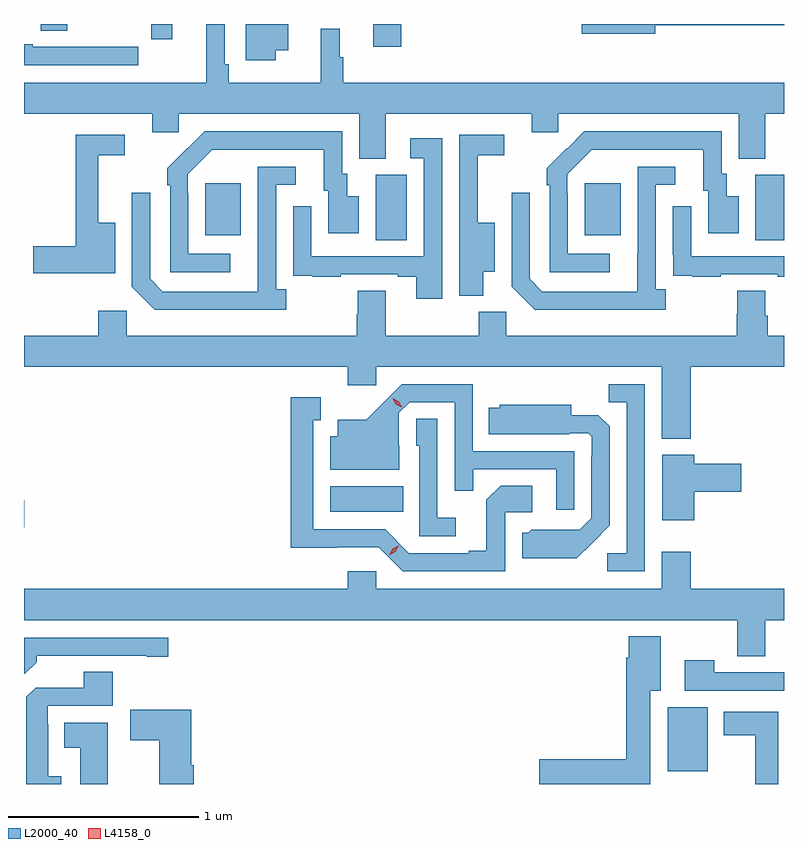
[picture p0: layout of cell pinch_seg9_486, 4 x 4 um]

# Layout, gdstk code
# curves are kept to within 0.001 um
import gdstk
lib = gdstk.Library(unit=1e-6, precision=1e-09)
def R(c, l, rs):  # rectangles x0, y0, x1, y1
    for r in rs: c.add(gdstk.rectangle(r[:2], r[2:], *l))
def P(c, l, *ps):  # polygons
    for p in ps: c.add(gdstk.Polygon(p, *l))
L2000_40 = (2000, 40)
L4158_0 = (4158, 0)

pinch_seg9_486 = lib.new_cell('pinch_seg9_486')
R(pinch_seg9_486, L2000_40, [(283.67,1199.621,283.882,1199.956), (280.283,1200.904,280.285,1201.046), (281.894,1200.986,282.278,1201.12), (282.134,1202.416,282.298,1202.76), (284.132,1202.416,284.283,1202.76), (281.237,1202.441,281.425,1202.716), (283.235,1202.441,283.423,1202.716), (282.122,1203.432,282.269,1203.553), (280.954,1203.474,281.063,1203.553), (280.371,1203.517,280.51,1203.553)])
P(pinch_seg9_486, L2000_40, [(282.187,1203.08),(282.956,1203.08),(282.956,1202.982),(283.095,1202.982),(283.095,1203.08),(284.045,1203.08),(284.045,1202.845),(284.185,1202.845),(284.185,1203.08),(284.283,1203.08),(284.283,1203.244),(281.963,1203.244),(281.963,1203.378),(281.944,1203.378),(281.944,1203.529),(281.845,1203.529),(281.845,1203.244),(281.36,1203.244),(281.36,1203.34),(281.34,1203.34),(281.34,1203.553),(281.243,1203.553),(281.243,1203.244),(280.283,1203.244),(280.283,1203.08),(280.958,1203.08),(280.958,1202.982),(281.097,1202.982),(281.097,1203.08),(282.047,1203.08),(282.047,1202.845),(282.187,1202.845)],
  [(281.608,1203.416),(281.674,1203.416),(281.674,1203.553),(281.45,1203.553),(281.45,1203.363),(281.608,1203.363)],
  [(283.606,1203.546),(284.283,1203.546),(284.283,1203.553),(283.218,1203.553),(283.218,1203.503),(283.606,1203.503)],
  [(280.885,1203.432),(280.772,1203.432),(280.772,1203.433),(280.606,1203.433),(280.606,1203.432),(280.33,1203.432),(280.33,1203.447),(280.283,1203.447),(280.283,1203.336),(280.885,1203.336)],
  [(283.366,1202.343),(283.146,1202.343),(283.146,1202.663),(283.143,1202.663),(283.143,1202.763),(283.272,1202.892),(283.859,1202.892),(283.859,1202.676),(283.883,1202.676),(283.883,1202.451),(284.044,1202.451),(284.044,1202.647),(283.981,1202.647),(283.981,1202.766),(283.956,1202.766),(283.956,1202.988),(283.232,1202.988),(283.035,1202.793),(283.035,1202.705),(283.05,1202.705),(283.05,1202.247),(283.366,1202.247)],
  [(281.368,1202.343),(281.148,1202.343),(281.148,1202.663),(281.145,1202.663),(281.145,1202.763),(281.274,1202.892),(281.861,1202.892),(281.861,1202.676),(281.885,1202.676),(281.885,1202.451),(282.046,1202.451),(282.046,1202.647),(281.983,1202.647),(281.983,1202.766),(281.958,1202.766),(281.958,1202.988),(281.234,1202.988),(281.037,1202.793),(281.037,1202.705),(281.052,1202.705),(281.052,1202.247),(281.368,1202.247)],
  [(280.762,1202.506),(280.673,1202.506),(280.673,1202.862),(280.813,1202.862),(280.813,1202.97),(280.555,1202.97),(280.555,1202.384),(280.332,1202.384),(280.332,1202.242),(280.762,1202.242)],
  [(282.7,1202.249),(282.76,1202.249),(282.76,1202.506),(282.671,1202.506),(282.671,1202.862),(282.811,1202.862),(282.811,1202.97),(282.573,1202.97),(282.573,1202.123),(282.7,1202.123)],
  [(282.483,1202.953),(282.315,1202.953),(282.315,1202.847),(282.387,1202.847),(282.387,1202.331),(281.796,1202.331),(281.796,1202.593),(281.7,1202.593),(281.7,1202.338),(281.701,1202.338),(281.701,1202.229),(281.803,1202.229),(281.803,1202.223),(281.951,1202.223),(281.951,1202.235),(282.251,1202.235),(282.251,1202.223),(282.347,1202.223),(282.347,1202.106),(282.483,1202.106)],
  [(281.662,1202.158),(281.61,1202.158),(281.61,1202.706),(281.713,1202.706),(281.713,1202.802),(281.514,1202.802),(281.513,1202.145),(281.013,1202.145),(280.947,1202.211),(280.947,1202.665),(280.851,1202.665),(280.851,1202.169),(280.972,1202.048),(281.662,1202.048)],
  [(283.66,1202.158),(283.608,1202.158),(283.608,1202.706),(283.711,1202.706),(283.711,1202.802),(283.512,1202.802),(283.511,1202.145),(283.011,1202.145),(282.945,1202.211),(282.945,1202.665),(282.849,1202.665),(282.849,1202.169),(282.97,1202.048),(283.66,1202.048)],
  [(283.949,1202.235),(284.249,1202.235),(284.249,1202.223),(284.283,1202.223),(284.283,1202.331),(283.794,1202.331),(283.794,1202.593),(283.698,1202.593),(283.698,1202.338),(283.699,1202.338),(283.699,1202.229),(283.801,1202.229),(283.801,1202.223),(283.949,1202.223)],
  [(283.793,1201.748),(284.283,1201.748),(284.283,1201.912),(284.198,1201.912),(284.198,1202.018),(284.185,1202.018),(284.185,1202.15),(284.038,1202.15),(284.038,1202.025),(284.033,1202.025),(284.033,1201.912),(282.822,1201.912),(282.822,1202.038),(282.676,1202.038),(282.676,1201.912),(282.187,1201.912),(282.187,1202.15),(282.04,1202.15),(282.04,1202.025),(282.035,1202.025),(282.035,1201.912),(280.824,1201.912),(280.824,1202.044),(280.673,1202.044),(280.673,1201.912),(280.283,1201.912),(280.283,1201.748),(281.987,1201.748),(281.987,1201.653),(282.138,1201.653),(282.138,1201.748),(283.64,1201.748),(283.64,1201.37),(283.793,1201.37)],
  [(283.551,1201.656),(283.36,1201.656),(283.36,1201.561),(283.455,1201.561),(283.455,1200.768),(283.353,1200.768),(283.353,1200.672),(283.551,1200.672)],
  [(283.179,1201.305),(282.645,1201.305),(282.645,1201.656),(282.272,1201.656),(282.085,1201.471),(281.933,1201.471),(281.933,1201.384),(281.894,1201.384),(281.894,1201.208),(282.259,1201.208),(282.259,1201.332),(282.255,1201.332),(282.255,1201.506),(282.312,1201.563),(282.549,1201.563),(282.549,1201.096),(282.647,1201.096),(282.647,1201.209),(283.083,1201.209),(283.083,1200.996),(283.179,1200.996)],
  [(282.816,1200.984),(282.958,1200.984),(282.958,1201.124),(282.793,1201.124),(282.717,1201.048),(282.717,1200.781),(282.623,1200.781),(282.623,1200.768),(282.309,1200.768),(282.183,1200.894),(281.806,1200.894),(281.806,1201.467),(281.845,1201.467),(281.845,1201.588),(281.688,1201.588),(281.688,1200.797),(282.15,1200.798),(282.276,1200.672),(282.816,1200.672)],
  [(283.273,1200.821),(283.365,1200.914),(283.365,1201.436),(283.306,1201.495),(283.162,1201.495),(283.162,1201.549),(282.786,1201.549),(282.786,1201.534),(282.73,1201.534),(282.73,1201.394),(283.154,1201.394),(283.154,1201.398),(283.254,1201.398),(283.272,1201.38),(283.272,1201.28),(283.269,1201.28),(283.269,1200.951),(283.209,1200.891),(282.952,1200.892),(282.936,1200.876),(282.905,1200.876),(282.905,1200.74),(283.193,1200.74)],
  [(282.556,1200.955),(282.459,1200.955),(282.459,1201.475),(282.348,1201.475),(282.348,1201.332),(282.363,1201.332),(282.363,1200.858),(282.556,1200.858)],
  [(283.81,1201.091),(284.059,1201.091),(284.059,1201.238),(283.81,1201.238),(283.81,1201.285),(283.643,1201.285),(283.643,1200.942),(283.81,1200.942)],
  [(284.185,1200.416),(284.283,1200.416),(284.283,1200.58),(283.793,1200.58),(283.793,1200.775),(283.64,1200.775),(283.64,1200.58),(282.138,1200.58),(282.138,1200.673),(281.987,1200.673),(281.987,1200.58),(280.283,1200.58),(280.283,1200.416),(284.038,1200.416),(284.038,1200.226),(284.185,1200.226)],
  [(283.579,1200.044),(283.633,1200.044),(283.633,1200.331),(283.466,1200.331),(283.466,1200.218),(283.454,1200.218),(283.454,1199.684),(282.996,1199.684),(282.996,1199.553),(283.579,1199.553)],
  [(280.349,1200.194),(280.349,1200.228),(280.928,1200.228),(280.928,1200.223),(281.041,1200.223),(281.041,1200.324),(280.283,1200.324),(280.283,1200.132),(280.287,1200.132)],
  [(284.283,1200.141),(283.917,1200.141),(283.917,1200.205),(283.761,1200.205),(283.761,1200.045),(284.283,1200.045)],
  [(280.48,1199.593),(280.411,1199.593),(280.411,1199.867),(280.407,1199.867),(280.407,1199.964),(280.751,1199.964),(280.751,1200.143),(280.598,1200.143),(280.598,1200.06),(280.344,1200.06),(280.295,1200.011),(280.295,1199.553),(280.48,1199.553)],
  [(281.177,1199.653),(281.164,1199.653),(281.164,1199.944),(280.842,1199.944),(280.842,1199.782),(280.994,1199.782),(280.994,1199.553),(281.177,1199.553)],
  [(284.254,1199.932),(283.967,1199.932),(283.967,1199.81),(284.132,1199.81),(284.132,1199.553),(284.254,1199.553)],
  [(280.723,1199.875),(280.496,1199.875),(280.496,1199.744),(280.58,1199.744),(280.58,1199.553),(280.723,1199.553)])
P(pinch_seg9_486, L4158_0, [(282.27,1201.537),(282.24,1201.553),(282.223,1201.583),(282.223,1201.583),(282.223,1201.583),(282.254,1201.568),(282.27,1201.538),(282.27,1201.537)],
  [(282.205,1200.757),(282.205,1200.757),(282.223,1200.79),(282.255,1200.808),(282.255,1200.808),(282.255,1200.808),(282.237,1200.776),(282.206,1200.757)])

lib.write_gds('pinch_seg9_486.gds')
